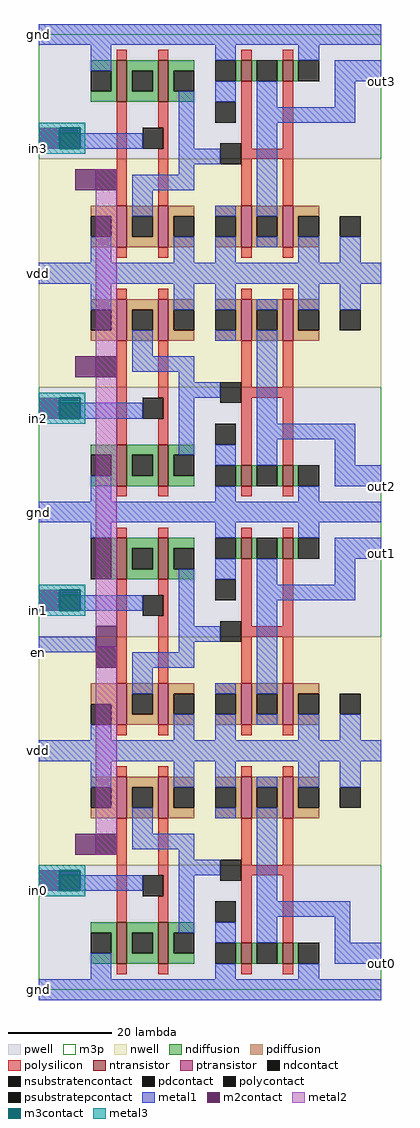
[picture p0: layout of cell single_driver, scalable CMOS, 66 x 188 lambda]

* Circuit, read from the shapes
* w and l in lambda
.subckt single_driver en gnd in0 in1 in2 in3 out0 out1 out2 out3 vdd
M1 n1 en gnd gnd nfet w=8 l=2
M2 n2 en gnd gnd nfet w=8 l=2
M3 n3 en gnd gnd nfet w=8 l=2
M4 n4 en gnd gnd nfet w=8 l=2
M5 n5 in0 n1 gnd nfet w=8 l=2
M6 n6 in1 n2 gnd nfet w=8 l=2
M7 n7 in2 n3 gnd nfet w=8 l=2
M8 n8 in3 n4 gnd nfet w=8 l=2
M9 out0 n5 gnd gnd nfet w=4 l=2 m=2
M10 out1 n6 gnd gnd nfet w=4 l=2 m=2
M11 out2 n7 gnd gnd nfet w=4 l=2 m=2
M12 out3 n8 gnd gnd nfet w=4 l=2 m=2
M13 n5 en vdd vdd pfet w=8 l=2
M14 n6 en vdd vdd pfet w=8 l=2
M15 n7 en vdd vdd pfet w=8 l=2
M16 n8 en vdd vdd pfet w=8 l=2
M17 vdd in0 n5 vdd pfet w=8 l=2
M18 vdd in1 n6 vdd pfet w=8 l=2
M19 vdd in2 n7 vdd pfet w=8 l=2
M20 vdd in3 n8 vdd pfet w=8 l=2
M21 out0 n5 vdd vdd pfet w=8 l=2 m=2
M22 out1 n6 vdd vdd pfet w=8 l=2 m=2
M23 out2 n7 vdd vdd pfet w=8 l=2 m=2
M24 out3 n8 vdd vdd pfet w=8 l=2 m=2
.ends

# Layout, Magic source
magic
tech scmos
<< nwell >>
rect 0 116 66 160
rect 0 24 66 68
<< pwell >>
rect 0 160 66 186
rect 0 68 66 116
rect 0 -2 66 24
<< ntransistor >>
rect 15 171 17 179
rect 23 171 25 179
rect 39 175 41 179
rect 47 175 49 179
rect 15 97 17 105
rect 23 97 25 105
rect 39 97 41 101
rect 47 97 49 101
rect 15 79 17 87
rect 23 79 25 87
rect 39 83 41 87
rect 47 83 49 87
rect 15 5 17 13
rect 23 5 25 13
rect 39 5 41 9
rect 47 5 49 9
<< ptransistor >>
rect 15 143 17 151
rect 23 143 25 151
rect 39 143 41 151
rect 47 143 49 151
rect 15 125 17 133
rect 23 125 25 133
rect 39 125 41 133
rect 47 125 49 133
rect 15 51 17 59
rect 23 51 25 59
rect 39 51 41 59
rect 47 51 49 59
rect 15 33 17 41
rect 23 33 25 41
rect 39 33 41 41
rect 47 33 49 41
<< ndiffusion >>
rect 10 177 15 179
rect 14 173 15 177
rect 10 171 15 173
rect 17 177 23 179
rect 17 173 18 177
rect 22 173 23 177
rect 17 171 23 173
rect 25 177 30 179
rect 25 173 26 177
rect 38 175 39 179
rect 41 175 42 179
rect 46 175 47 179
rect 49 175 50 179
rect 25 171 30 173
rect 10 103 15 105
rect 14 99 15 103
rect 10 97 15 99
rect 17 103 23 105
rect 17 99 18 103
rect 22 99 23 103
rect 17 97 23 99
rect 25 103 30 105
rect 25 99 26 103
rect 25 97 30 99
rect 38 97 39 101
rect 41 97 42 101
rect 46 97 47 101
rect 49 97 50 101
rect 14 79 15 87
rect 17 85 23 87
rect 17 81 18 85
rect 22 81 23 85
rect 17 79 23 81
rect 25 85 30 87
rect 25 81 26 85
rect 38 83 39 87
rect 41 83 42 87
rect 46 83 47 87
rect 49 83 50 87
rect 25 79 30 81
rect 10 11 15 13
rect 14 7 15 11
rect 10 5 15 7
rect 17 11 23 13
rect 17 7 18 11
rect 22 7 23 11
rect 17 5 23 7
rect 25 11 30 13
rect 25 7 26 11
rect 25 5 30 7
rect 38 5 39 9
rect 41 5 42 9
rect 46 5 47 9
rect 49 5 50 9
<< pdiffusion >>
rect 10 149 15 151
rect 14 145 15 149
rect 10 143 15 145
rect 17 149 23 151
rect 17 145 18 149
rect 22 145 23 149
rect 17 143 23 145
rect 25 149 30 151
rect 25 145 26 149
rect 25 143 30 145
rect 34 149 39 151
rect 38 145 39 149
rect 34 143 39 145
rect 41 149 47 151
rect 41 145 42 149
rect 46 145 47 149
rect 41 143 47 145
rect 49 149 54 151
rect 49 145 50 149
rect 49 143 54 145
rect 10 131 15 133
rect 14 127 15 131
rect 10 125 15 127
rect 17 131 23 133
rect 17 127 18 131
rect 22 127 23 131
rect 17 125 23 127
rect 25 131 30 133
rect 25 127 26 131
rect 25 125 30 127
rect 34 131 39 133
rect 38 127 39 131
rect 34 125 39 127
rect 41 131 47 133
rect 41 127 42 131
rect 46 127 47 131
rect 41 125 47 127
rect 49 131 54 133
rect 49 127 50 131
rect 49 125 54 127
rect 10 55 15 59
rect 14 51 15 55
rect 17 57 23 59
rect 17 53 18 57
rect 22 53 23 57
rect 17 51 23 53
rect 25 57 30 59
rect 25 53 26 57
rect 25 51 30 53
rect 34 57 39 59
rect 38 53 39 57
rect 34 51 39 53
rect 41 57 47 59
rect 41 53 42 57
rect 46 53 47 57
rect 41 51 47 53
rect 49 57 54 59
rect 49 53 50 57
rect 49 51 54 53
rect 10 39 15 41
rect 14 35 15 39
rect 10 33 15 35
rect 17 39 23 41
rect 17 35 18 39
rect 22 35 23 39
rect 17 33 23 35
rect 25 39 30 41
rect 25 35 26 39
rect 25 33 30 35
rect 34 39 39 41
rect 38 35 39 39
rect 34 33 39 35
rect 41 39 47 41
rect 41 35 42 39
rect 46 35 47 39
rect 41 33 47 35
rect 49 39 54 41
rect 49 35 50 39
rect 49 33 54 35
<< ndcontact >>
rect 10 173 14 177
rect 18 173 22 177
rect 26 173 30 177
rect 34 175 38 179
rect 42 175 46 179
rect 50 175 54 179
rect 10 99 14 103
rect 18 99 22 103
rect 26 99 30 103
rect 34 97 38 101
rect 42 97 46 101
rect 50 97 54 101
rect 10 79 14 87
rect 18 81 22 85
rect 26 81 30 85
rect 34 83 38 87
rect 42 83 46 87
rect 50 83 54 87
rect 10 7 14 11
rect 18 7 22 11
rect 26 7 30 11
rect 34 5 38 9
rect 42 5 46 9
rect 50 5 54 9
<< pdcontact >>
rect 10 145 14 149
rect 18 145 22 149
rect 26 145 30 149
rect 34 145 38 149
rect 42 145 46 149
rect 50 145 54 149
rect 10 127 14 131
rect 18 127 22 131
rect 26 127 30 131
rect 34 127 38 131
rect 42 127 46 131
rect 50 127 54 131
rect 10 51 14 55
rect 18 53 22 57
rect 26 53 30 57
rect 34 53 38 57
rect 42 53 46 57
rect 50 53 54 57
rect 10 35 14 39
rect 18 35 22 39
rect 26 35 30 39
rect 34 35 38 39
rect 42 35 46 39
rect 50 35 54 39
<< psubstratepcontact >>
rect 34 167 38 171
rect 34 105 38 109
rect 34 75 38 79
rect 34 13 38 17
<< nsubstratencontact >>
rect 58 145 62 149
rect 58 127 62 131
rect 58 53 62 57
rect 58 35 62 39
<< polysilicon >>
rect 15 179 17 181
rect 23 179 25 181
rect 39 179 41 181
rect 47 179 49 181
rect 15 151 17 171
rect 23 166 25 171
rect 24 162 25 166
rect 23 151 25 162
rect 39 162 41 175
rect 47 162 49 175
rect 39 160 49 162
rect 39 151 41 160
rect 47 151 49 160
rect 15 141 17 143
rect 23 141 25 143
rect 39 141 41 143
rect 47 141 49 143
rect 15 133 17 135
rect 23 133 25 135
rect 39 133 41 135
rect 47 133 49 135
rect 15 105 17 125
rect 23 114 25 125
rect 24 110 25 114
rect 39 116 41 125
rect 47 116 49 125
rect 39 114 49 116
rect 23 105 25 110
rect 39 101 41 114
rect 47 101 49 114
rect 15 95 17 97
rect 23 95 25 97
rect 39 95 41 97
rect 47 95 49 97
rect 15 87 17 89
rect 23 87 25 89
rect 39 87 41 89
rect 47 87 49 89
rect 15 59 17 79
rect 23 76 25 79
rect 24 72 25 76
rect 23 59 25 72
rect 39 70 41 83
rect 47 70 49 83
rect 39 68 49 70
rect 39 59 41 68
rect 47 59 49 68
rect 15 49 17 51
rect 23 49 25 51
rect 39 49 41 51
rect 47 49 49 51
rect 15 41 17 43
rect 23 41 25 43
rect 39 41 41 43
rect 47 41 49 43
rect 15 13 17 33
rect 23 22 25 33
rect 24 18 25 22
rect 39 24 41 33
rect 47 24 49 33
rect 39 22 49 24
rect 23 13 25 18
rect 39 9 41 22
rect 47 9 49 22
rect 15 3 17 5
rect 23 3 25 5
rect 39 3 41 5
rect 47 3 49 5
<< polycontact >>
rect 11 154 15 158
rect 20 162 24 166
rect 35 159 39 163
rect 11 118 15 122
rect 20 110 24 114
rect 35 113 39 117
rect 11 62 15 66
rect 20 72 24 76
rect 35 67 39 71
rect 11 26 15 30
rect 20 18 24 22
rect 35 21 39 25
<< metal1 >>
rect 0 182 66 186
rect 10 177 14 182
rect 34 179 38 182
rect 50 179 54 182
rect 4 162 20 165
rect 27 162 30 173
rect 34 171 38 175
rect 57 175 66 179
rect 42 170 46 175
rect 57 170 61 175
rect 42 167 61 170
rect 27 159 35 162
rect 27 157 30 159
rect 18 154 30 157
rect 18 149 22 154
rect 34 149 38 151
rect 10 140 14 145
rect 26 140 30 145
rect 34 140 38 145
rect 42 149 46 167
rect 42 143 46 145
rect 50 140 54 145
rect 58 140 62 145
rect 0 136 66 140
rect 10 131 14 136
rect 26 131 30 136
rect 34 131 38 136
rect 18 122 22 127
rect 34 125 38 127
rect 42 131 46 133
rect 50 131 54 136
rect 58 131 62 136
rect 18 119 30 122
rect 27 117 30 119
rect 27 114 35 117
rect 4 110 20 113
rect 27 103 30 114
rect 42 109 46 127
rect 34 101 38 105
rect 10 94 14 99
rect 42 106 61 109
rect 42 101 46 106
rect 57 101 61 106
rect 57 97 66 101
rect 34 94 38 97
rect 50 94 54 97
rect 0 90 66 94
rect 10 87 14 90
rect 34 87 38 90
rect 50 87 54 90
rect 4 73 20 76
rect 27 70 30 81
rect 34 79 38 83
rect 57 83 66 87
rect 42 78 46 83
rect 57 78 61 83
rect 42 75 61 78
rect 0 65 11 68
rect 27 67 35 70
rect 27 65 30 67
rect 18 62 30 65
rect 18 57 22 62
rect 34 57 38 59
rect 10 48 14 51
rect 26 48 30 53
rect 34 48 38 53
rect 42 57 46 75
rect 42 51 46 53
rect 50 48 54 53
rect 58 48 62 53
rect 0 44 66 48
rect 10 39 14 44
rect 26 39 30 44
rect 34 39 38 44
rect 18 30 22 35
rect 34 33 38 35
rect 42 39 46 41
rect 50 39 54 44
rect 58 39 62 44
rect 18 27 30 30
rect 27 25 30 27
rect 27 22 35 25
rect 4 19 20 22
rect 27 11 30 22
rect 42 17 46 35
rect 34 9 38 13
rect 10 2 14 7
rect 42 14 60 17
rect 42 9 46 14
rect 57 9 60 14
rect 57 5 66 9
rect 34 2 38 5
rect 50 2 54 5
rect 0 -2 66 2
<< m2contact >>
rect 0 162 4 166
rect 7 154 11 158
rect 7 118 11 122
rect 0 110 4 114
rect 0 73 4 77
rect 11 66 15 70
rect 7 26 11 30
rect 0 19 4 23
<< metal2 >>
rect 11 70 15 158
rect 11 26 15 66
<< m3contact >>
rect 4 162 8 166
rect 4 110 8 114
rect 4 73 8 77
rect 4 19 8 23
<< metal3 >>
rect 0 166 9 167
rect 0 162 4 166
rect 8 162 9 166
rect 0 161 9 162
rect 0 114 9 115
rect 0 110 4 114
rect 8 110 9 114
rect 0 109 9 110
rect 0 77 9 78
rect 0 73 4 77
rect 8 73 9 77
rect 0 72 9 73
rect 0 23 9 24
rect 0 19 4 23
rect 8 19 9 23
rect 0 18 9 19
<< m3p >>
rect 0 0 66 184
<< labels >>
rlabel m2contact 0 162 0 162 3 in3
rlabel metal1 0 184 0 184 2 gnd
rlabel metal1 0 138 0 138 2 vdd
rlabel m2contact 0 110 0 110 3 in2
rlabel metal1 0 46 0 46 2 vdd
rlabel m2contact 0 19 0 19 3 in0
rlabel metal1 0 0 0 0 6 gnd
rlabel metal1 0 92 0 92 4 gnd
rlabel m2contact 0 73 0 73 3 in1
rlabel metal1 0 65 0 65 3 en
rlabel metal1 66 175 66 175 7 out3
rlabel metal1 66 84 66 84 1 out1
rlabel metal1 66 97 66 97 7 out2
rlabel metal1 66 5 66 5 7 out0
<< end >>
